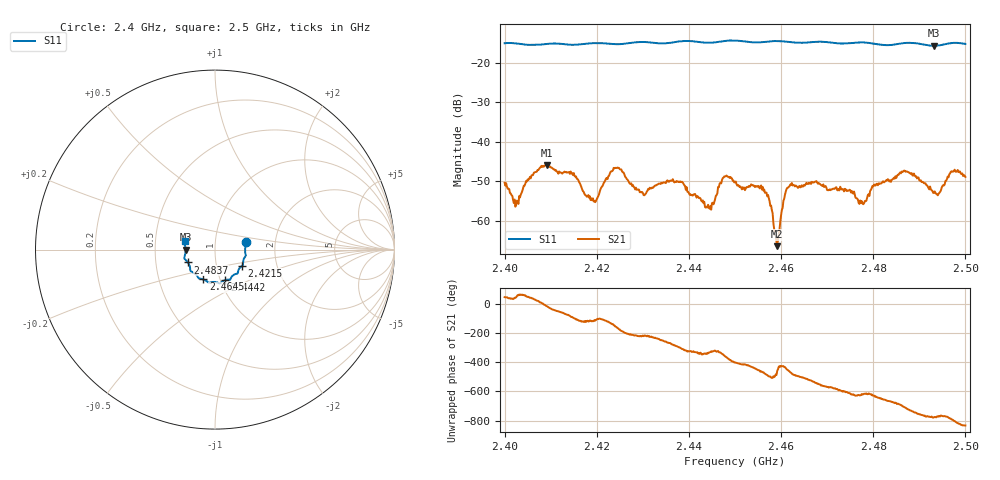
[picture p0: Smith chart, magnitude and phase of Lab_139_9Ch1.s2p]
# Hz S RI R 50
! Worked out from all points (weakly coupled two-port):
!   601 points, 2.4 GHz to 2.5 GHz, reference 50 ohm
!   highest |S21| = -45.92 dB at 2.4092 GHz (marker M1); lowest = -66.4 dB at 2.4592 GHz (marker M2)
!   lowest |S11| = -15.7 dB at 2.4932 GHz (marker M3), VSWR 1.39, Z = 36 - j0.0482 ohm
!   |S11| at or under -10 dB: start of sweep to end of sweep
!   S12 and S22 are empty: the file has one direction only
!   S11 on the Smith chart (normalised r, x): 2.4 GHz: 1.41, +0.12; 2.4215 GHz: 1.33, -0.25; 2.4442 GHz: 1.05, -0.37; 2.4645 GHz: 0.83, -0.29; 2.4837 GHz: 0.73, -0.11; 2.5 GHz: 0.71, +0.07
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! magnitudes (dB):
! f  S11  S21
! 2.4 GHz  -15.1  -50.4
! 2.4025 GHz  -15.1  -56.0
! 2.4092 GHz  -15.3  -45.9
! 2.4167 GHz  -15.3  -51.5
! 2.4195 GHz  -15.0  -55.1
! 2.4215 GHz  -15.1  -50.4
! 2.4242 GHz  -15.3  -46.6
! 2.4298 GHz  -14.8  -52.7
! 2.4333 GHz  -15.1  -50.7
! 2.4442 GHz  -15.0  -55.9
! 2.4477 GHz  -14.5  -48.8
! 2.45 GHz  -14.4  -50.3
! 2.4565 GHz  -14.8  -52.9
! 2.4592 GHz  -14.5  -66.4
! 2.4613 GHz  -14.7  -51.6
! 2.4645 GHz  -15.0  -51.0
! 2.4667 GHz  -14.8  -50.1
! 2.4775 GHz  -14.9  -55.0
! 2.4833 GHz  -15.6  -49.8
! 2.4837 GHz  -15.5  -49.7
! 2.4932 GHz  -15.7  -52.9
! 2.5 GHz  -15.3  -48.9
